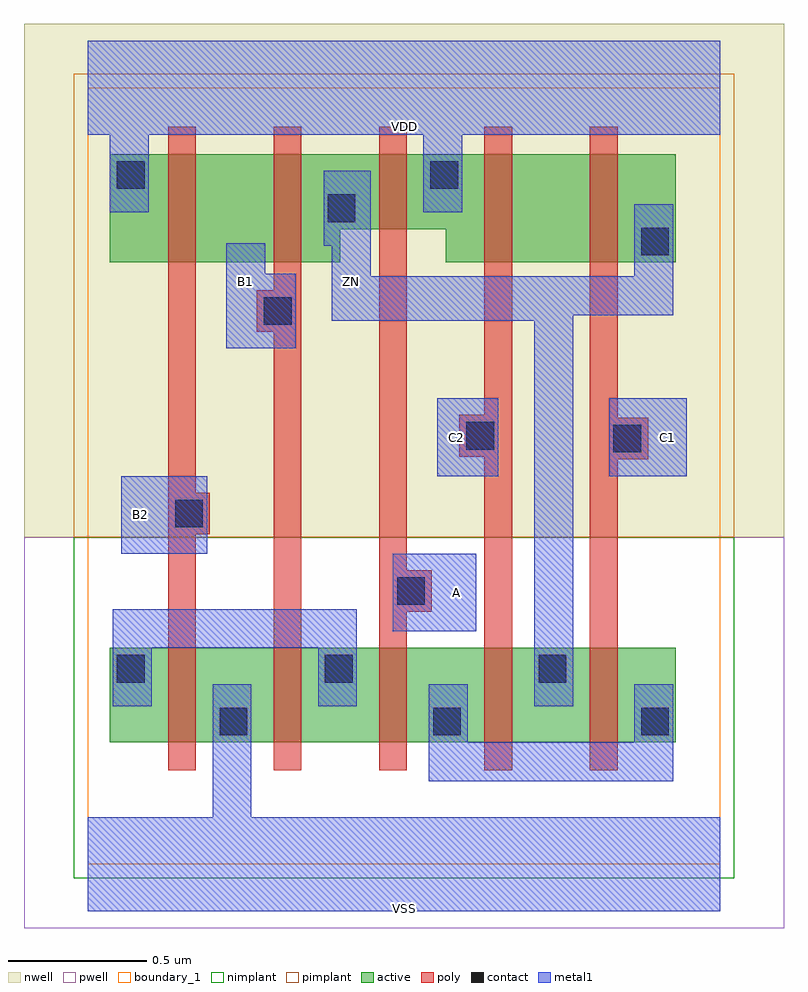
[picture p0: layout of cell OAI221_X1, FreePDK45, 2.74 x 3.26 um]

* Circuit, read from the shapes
.subckt OAI221_X1 A B1 B2 C1 C2 VDD VSS ZN
M1 VSS B2 n1 VSUBS nfet w=0.34u l=0.1u
M2 n1 B1 VSS VSUBS nfet w=0.34u l=0.1u
M3 n2 A n1 VSUBS nfet w=0.34u l=0.1u
M4 ZN C2 n2 VSUBS nfet w=0.34u l=0.1u
M5 n2 C1 ZN VSUBS nfet w=0.34u l=0.1u
M6 n3 B2 VDD n4 pfet w=0.39u l=0.1u
M7 ZN B1 n3 n4 pfet w=0.39u l=0.1u
M8 VDD A ZN n4 pfet w=0.27u l=0.1u
M9 n5 C2 VDD n4 pfet w=0.39u l=0.1u
M10 ZN C1 n5 n4 pfet w=0.39u l=0.1u
.ends

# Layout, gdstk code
import gdstk
lib = gdstk.Library(unit=1e-6, precision=1e-09)
def R(c, l, rs):  # rectangles x0, y0, x1, y1
    for r in rs: c.add(gdstk.rectangle(r[:2], r[2:], *l))
def P(c, l, *ps):  # polygons
    for p in ps: c.add(gdstk.Polygon(p, *l))
active = (1, 0)
pwell = (2, 0)
nwell = (3, 0)
nimplant = (4, 0)
pimplant = (5, 0)
poly = (9, 0)
contact = (10, 0)
metal1 = (11, 0)
boundary_1 = (235, 1)

oai221_x1 = lib.new_cell('OAI221_X1')
R(oai221_x1, active, [(0.08,0.44,2.12,0.78)])
P(oai221_x1, active, [(0.08,2.17),(0.91,2.17),(0.91,2.29),(1.29,2.29),(1.29,2.17),(2.12,2.17),(2.12,2.56),(0.08,2.56)])
R(oai221_x1, pwell, [(-0.23,-0.23,2.51,1.18)])
R(oai221_x1, nwell, [(-0.23,1.18,2.51,3.03)])
R(oai221_x1, nimplant, [(-0.05,-0.05,2.33,1.18)])
R(oai221_x1, pimplant, [(-0.05,1.18,2.33,2.85)])
P(oai221_x1, poly, [(1.81,0.34),(1.91,0.34),(1.91,1.46),(2.02,1.46),(2.02,1.61),(1.91,1.61),(1.91,2.66),(1.81,2.66)],
  [(1.34,1.47),(1.43,1.47),(1.43,0.34),(1.53,0.34),(1.53,2.66),(1.43,2.66),(1.43,1.62),(1.34,1.62)],
  [(1.05,0.34),(1.15,0.34),(1.15,0.91),(1.24,0.91),(1.24,1.06),(1.15,1.06),(1.15,2.66),(1.05,2.66)],
  [(0.61,1.92),(0.67,1.92),(0.67,0.34),(0.77,0.34),(0.77,2.66),(0.67,2.66),(0.67,2.07),(0.61,2.07)],
  [(0.29,0.34),(0.39,0.34),(0.39,1.19),(0.44,1.19),(0.44,1.34),(0.39,1.34),(0.39,2.66),(0.29,2.66)])
R(oai221_x1, contact, [(0.475,0.465,0.575,0.565), (1.245,0.465,1.345,0.565), (1.995,0.465,2.095,0.565), (0.105,0.655,0.205,0.755), (0.855,0.655,0.955,0.755), (1.625,0.655,1.725,0.755), (1.115,0.935,1.215,1.035), (0.315,1.215,0.415,1.315), (1.895,1.485,1.995,1.585), (1.365,1.495,1.465,1.595), (0.635,1.945,0.735,2.045), (1.995,2.195,2.095,2.295), (0.865,2.315,0.965,2.415), (0.105,2.435,0.205,2.535), (1.235,2.435,1.335,2.535)])
R(oai221_x1, metal1, [(1.1,0.84,1.4,1.12), (1.1,0.84,1.4,1.12), (0.12,1.12,0.43,1.4), (0.12,1.12,0.43,1.4), (1.26,1.4,1.48,1.68), (1.26,1.4,1.48,1.68), (1.88,1.4,2.16,1.68), (1.88,1.4,2.16,1.68)])
P(oai221_x1, metal1, [(0,-0.17),(2.28,-0.17),(2.28,0.17),(0.59,0.17),(0.59,0.65),(0.45,0.65),(0.45,0.17),(0,0.17)],
  [(0.85,2.23),(0.88,2.23),(0.88,1.96),(1.61,1.96),(1.61,0.57),(1.75,0.57),(1.75,1.98),(2.11,1.98),(2.11,2.38),(1.97,2.38),(1.97,2.12),(1.02,2.12),(1.02,2.5),(0.85,2.5)],
  [(0.5,1.86),(0.75,1.86),(0.75,2.13),(0.64,2.13),(0.64,2.24),(0.5,2.24)],
  [(0,2.63),(0.08,2.63),(0.08,2.35),(0.22,2.35),(0.22,2.63),(1.21,2.63),(1.21,2.35),(1.35,2.35),(1.35,2.63),(2.28,2.63),(2.28,2.97),(0,2.97)],
  [(0,2.63),(0.08,2.63),(0.08,2.35),(0.22,2.35),(0.22,2.63),(1.21,2.63),(1.21,2.35),(1.35,2.35),(1.35,2.63),(2.28,2.63),(2.28,2.97),(0,2.97)],
  [(0,-0.17),(2.28,-0.17),(2.28,0.17),(0.59,0.17),(0.59,0.65),(0.45,0.65),(0.45,0.17),(0,0.17)],
  [(0.85,2.23),(0.88,2.23),(0.88,1.96),(1.61,1.96),(1.61,0.57),(1.75,0.57),(1.75,1.98),(2.11,1.98),(2.11,2.38),(1.97,2.38),(1.97,2.12),(1.02,2.12),(1.02,2.5),(0.85,2.5)],
  [(1.23,0.3),(2.11,0.3),(2.11,0.65),(1.97,0.65),(1.97,0.44),(1.37,0.44),(1.37,0.65),(1.23,0.65)],
  [(0.09,0.57),(0.23,0.57),(0.23,0.78),(0.83,0.78),(0.83,0.57),(0.97,0.57),(0.97,0.92),(0.09,0.92)],
  [(0.5,1.86),(0.75,1.86),(0.75,2.13),(0.64,2.13),(0.64,2.24),(0.5,2.24)])
R(oai221_x1, boundary_1, [(0,0,2.28,2.8)])
oai221_x1.add(gdstk.Label('ZN', (0.95,2.1), layer=11, texttype=0))
oai221_x1.add(gdstk.Label('VSS', (1.14,-0.16), layer=11, texttype=0))
oai221_x1.add(gdstk.Label('VDD', (1.14,2.66), layer=11, texttype=0))
oai221_x1.add(gdstk.Label('C2', (1.33,1.54), layer=11, texttype=0))
oai221_x1.add(gdstk.Label('C1', (2.09,1.54), layer=11, texttype=0))
oai221_x1.add(gdstk.Label('B2', (0.19,1.26), layer=11, texttype=0))
oai221_x1.add(gdstk.Label('B1', (0.57,2.1), layer=11, texttype=0))
oai221_x1.add(gdstk.Label('A', (1.33,0.98), layer=11, texttype=0))

lib.write_gds('OAI221_X1.gds')
